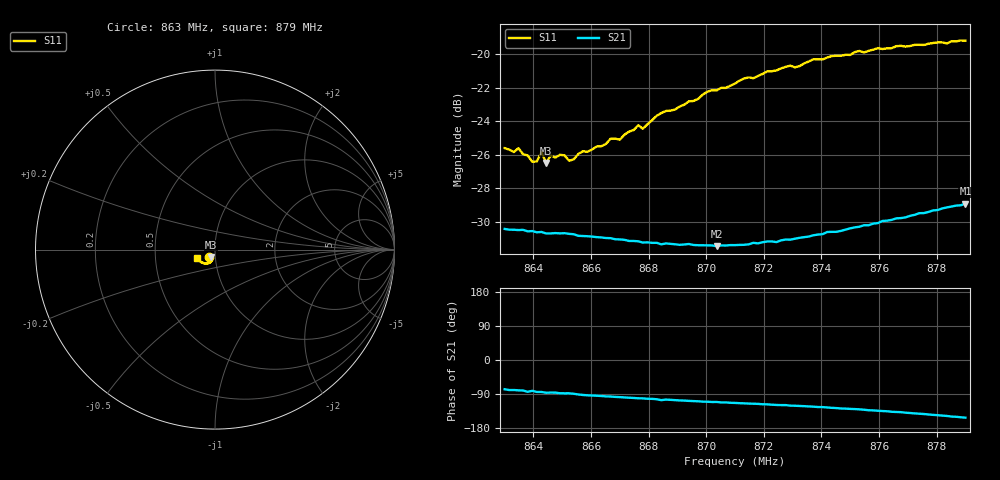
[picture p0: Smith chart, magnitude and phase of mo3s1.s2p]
# HZ S RI R 50
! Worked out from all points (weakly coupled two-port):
!   101 points, 863 MHz to 879 MHz, reference 50 ohm
!   highest |S21| = -28.91 dB at 879 MHz (marker M1); lowest = -31.5 dB at 870.36 MHz (marker M2)
!   lowest |S11| = -26.5 dB at 864.44 MHz (marker M3), VSWR 1.10, Z = 47.4 - j3.85 ohm
!   |S11| at or under -10 dB: start of sweep to end of sweep
!   S12 and S22 are empty: the file has one direction only
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8.63e8  -0.0348 -0.0394  0.00671 -0.0294  0 0  0 0
8.6332e8  -0.0334 -0.0387  0.00562 -0.0294  0 0  0 0
8.6348e8  -0.0328 -0.041  0.00513 -0.0294  0 0  0 0
8.6396e8  -0.029 -0.038  0.00445 -0.0293  0 0  0 0
8.6412e8  -0.0267 -0.0398  0.00294 -0.0293  0 0  0 0
8.6428e8  -0.0295 -0.0418  0.0029 -0.0294  0 0  0 0
8.6444e8  -0.0247 -0.0405  0.00181 -0.0291  0 0  0 0
8.646e8  -0.0264 -0.0424  0.00205 -0.0291  0 0  0 0
8.6508e8  -0.0227 -0.0445  0.00109 -0.0292  0 0  0 0
8.6524e8  -0.021 -0.0433  0.00109 -0.0291  0 0  0 0
8.6572e8  -0.0214 -0.0467  -0.00115 -0.0287  0 0  0 0
8.6636e8  -0.0193 -0.0496  -0.00248 -0.0283  0 0  0 0
8.6668e8  -0.0191 -0.0527  -0.00314 -0.0281  0 0  0 0
8.67e8  -0.0185 -0.0525  -0.00388 -0.0278  0 0  0 0
8.6764e8  -0.0198 -0.0582  -0.00529 -0.0272  0 0  0 0
8.678e8  -0.0187 -0.057  -0.00535 -0.0269  0 0  0 0
8.6844e8  -0.0208 -0.0635  -0.00742 -0.0261  0 0  0 0
8.7036e8  -0.0292 -0.0724  -0.00948 -0.025  0 0  0 0
8.71e8  -0.0341 -0.0744  -0.0106 -0.0248  0 0  0 0
8.7372e8  -0.0562 -0.0788  -0.0158 -0.0242  0 0  0 0
8.7644e8  -0.0801 -0.067  -0.0233 -0.022  0 0  0 0
8.79e8  -0.0993 -0.0471  -0.0317 -0.0168  0 0  0 0
